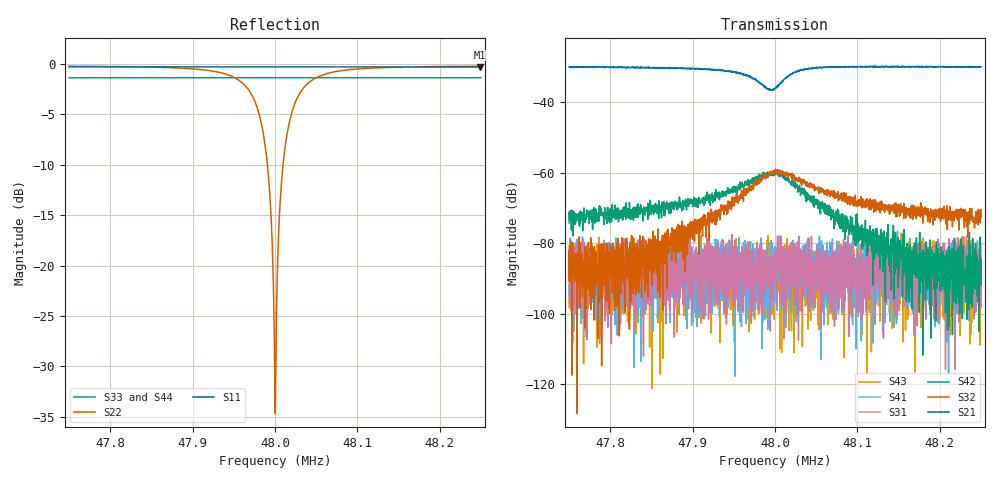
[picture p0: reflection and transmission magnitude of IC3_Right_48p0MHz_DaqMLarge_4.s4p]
#  HZ  S  DB  R  50.00
! Rohde & Schwarz Vector Network Analyzer
! Rohde-Schwarz,ZNB8-4Port,1311601044102961,2.82
! Created: UTC 2/12/2019, 1:58:18 PM
! freq[Hz]  db:S11  ang:S11  db:S12  ang:S12  db:S13  ang:S13  db:S14  ang:S14
!  db:S21  ang:S21  db:S22  ang:S22  db:S23  ang:S23  db:S24  ang:S24
!  db:S31  ang:S31  db:S32  ang:S32  db:S33  ang:S33  db:S34  ang:S34
!  db:S41  ang:S41  db:S42  ang:S42  db:S43  ang:S43  db:S44  ang:S44
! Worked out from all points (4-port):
!   2001 points, 47.75 MHz to 48.25 MHz, reference 50 ohm
!   strongest paths, dB at 47.75 MHz, 47.875 MHz, 48 MHz, 48.125 MHz, 48.25 MHz:
!     S21: -29.9, -30.2, -35.9, -29.9, -29.8
!     S32: -82.5, -75.6, -59.9, -70.4, -72.7
!     S42: -74.2, -69.6, -60.1, -79.8, -84.4
!     S31: -87.1, -94.3, -82.7, -84.4, -85.4
!     S41: -92.1, -93.2, -82.2, -92.2, -89.8
!     S43: -98.3, -85.5, -84.2, -84.0, -92.5
!   lowest |S11| = -0.3 dB at 48.248 MHz (marker M1), VSWR 50.94, Z = 1.46 - j34.7 ohm
!   |S11| at or under -10 dB: nowhere
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4.775e7  -0.32 -100.2  -29.93 -140.0  -84.54 -143.8  -84.02 26.8
         -29.87 -139.3  -0.25 1.7  -81.62 -132.5  -75.22 -29.1
         -87.09 33.5  -82.47 -18.2  -1.40 122.9  -87.20 -72.7
         -92.06 -132.3  -74.22 -22.3  -98.29 102.0  -1.41 130.4
4.796675e7  -0.32 -104.7  -32.29 -160.2  -87.46 -66.3  -88.62 -122.1
            -32.43 -159.5  -2.47 -42.1  -64.26 108.7  -63.21 -70.9
            -79.54 -93.6  -64.84 109.9  -1.39 120.3  -84.20 -125.0
            -98.86 -110.5  -63.33 -65.3  -81.95 87.3  -1.40 127.8
4.798975e7  -0.31 -105.1  -35.83 -149.1  -84.64 59.5  -83.99 -131.3
            -35.91 -150.7  -9.20 -74.8  -60.80 76.4  -59.82 -90.5
            -89.47 -154.7  -61.07 80.0  -1.39 120.1  -87.90 169.2
            -86.19 37.5  -60.22 -95.0  -101.24 127.7  -1.40 127.5
4.800025e7  -0.32 -105.3  -35.97 -129.1  -85.49 -85.6  -86.55 87.8
            -35.93 -128.7  -34.64 178.9  -59.68 53.9  -59.74 -118.6
            -88.90 -36.1  -59.66 53.2  -1.39 119.9  -80.57 114.2
            -80.88 99.7  -60.40 -117.2  -89.00 -156.0  -1.40 127.3
4.803375e7  -0.32 -106.0  -30.68 -125.5  -87.82 -176.7  -96.06 142.5
            -30.63 -125.0  -2.48 36.2  -62.20 -4.7  -65.68 -172.2
            -88.63 -166.9  -62.72 3.2  -1.40 119.5  -80.62 79.0
            -80.60 85.8  -65.69 -171.6  -90.17 -54.3  -1.40 127.0
4.82485e7  -0.34 -110.4  -29.83 -148.8  -110.63 -85.3  -96.92 74.6
           -29.81 -149.3  -0.25 -7.1  -71.49 -35.1  -92.00 85.0
           -90.02 -79.8  -72.44 -30.1  -1.39 116.8  -82.95 115.2
           -90.33 46.4  -87.30 -146.9  -79.20 -147.0  -1.41 124.3
4.825e7  -0.34 -110.5  -29.94 -149.4  -96.34 164.5  -100.78 50.1
         -29.83 -149.7  -0.26 -7.2  -71.61 -52.6  -89.83 164.9
         -85.38 136.2  -72.67 -51.0  -1.40 116.8  -84.52 49.4
         -89.76 155.5  -84.43 -48.5  -92.53 -18.2  -1.41 124.2
